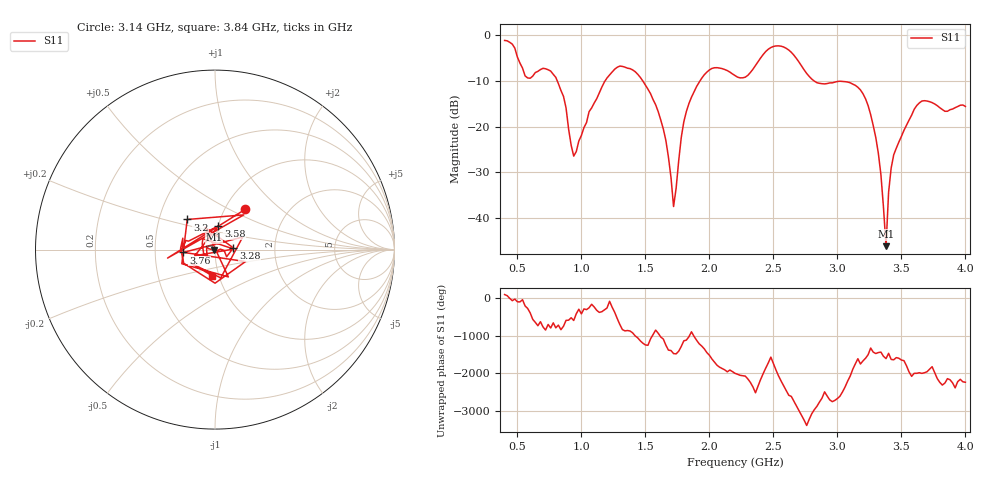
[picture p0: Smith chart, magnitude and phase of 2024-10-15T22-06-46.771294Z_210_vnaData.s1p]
! Created with skrf (http://scikit-rf.org).
# Hz S RI R 50.0
!freq ReS11 ImS11
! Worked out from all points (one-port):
!   181 points, 400 MHz to 4 GHz, reference 50 ohm
!   lowest |S11| = -46.1 dB at 3.38 GHz (marker M1), VSWR 1.01, Z = 49.5 - j0.115 ohm
!   |S11| at or under -10 dB: 811 MHz to 1.186 GHz (374.7 MHz wide, 37.5 % of centre); 1.479 GHz to 1.927 GHz (448.8 MHz wide, 26.4 % of centre); 2.816 GHz to end of sweep
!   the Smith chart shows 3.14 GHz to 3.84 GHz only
!   S11 on the Smith chart (normalised r, x): 3.14 GHz: 1.24, +0.61; 3.2 GHz: 0.70, +0.25; 3.28 GHz: 1.23, +0.02; 3.58 GHz: 1.00, +0.27; 3.76 GHz: 0.70, -0.02; 3.84 GHz: 0.93, -0.28
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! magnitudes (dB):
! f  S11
! 400 MHz  -1.2
! 560 MHz  -8.9
! 760 MHz  -7.9
! 860 MHz  -13.4
! 940 MHz  -26.4
! 1.3 GHz  -6.8
! 1.58 GHz  -15.2
! 1.66 GHz  -23.0
! 1.72 GHz  -37.4
! 1.76 GHz  -27.5
! 1.82 GHz  -16.7
! 1.94 GHz  -9.4
! 2.2 GHz  -8.9
! 2.5 GHz  -2.5
! 2.66 GHz  -4.4
! 2.84 GHz  -10.4
! 3.1 GHz  -10.4
! 3.14 GHz  -11.0
! 3.2 GHz  -12.8
! 3.28 GHz  -19.8
! 3.34 GHz  -30.5
! 3.38 GHz  -46.1
! 3.42 GHz  -29.1
! 3.56 GHz  -18.6
! 3.58 GHz  -17.5
! 3.76 GHz  -15.1
! 3.84 GHz  -16.7
! 4 GHz  -15.6
